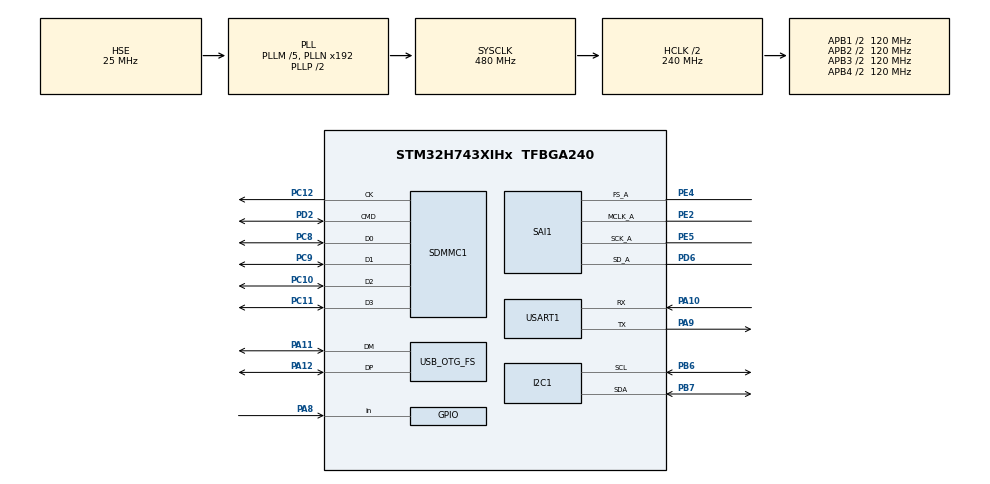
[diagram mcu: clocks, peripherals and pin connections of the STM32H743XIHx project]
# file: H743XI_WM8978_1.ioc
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Dma.Request0=SAI1_A
Dma.SAI1_A.0.Direction=DMA_MEMORY_TO_PERIPH
Dma.SAI1_A.0.EventEnable=DISABLE
Dma.SAI1_A.0.FIFOMode=DMA_FIFOMODE_DISABLE
Dma.SAI1_A.0.Instance=DMA1_Stream0
Dma.SAI1_A.0.MemDataAlignment=DMA_MDATAALIGN_HALFWORD
Dma.SAI1_A.0.MemInc=DMA_MINC_ENABLE
Dma.SAI1_A.0.Mode=DMA_NORMAL
Dma.SAI1_A.0.PeriphDataAlignment=DMA_PDATAALIGN_HALFWORD
Dma.SAI1_A.0.PeriphInc=DMA_PINC_DISABLE
Dma.SAI1_A.0.Polarity=HAL_DMAMUX_REQ_GEN_RISING
Dma.SAI1_A.0.Priority=DMA_PRIORITY_HIGH
Dma.SAI1_A.0.RequestNumber=1
Dma.SAI1_A.0.SignalID=NONE
Dma.SAI1_A.0.SyncEnable=DISABLE
Dma.SAI1_A.0.SyncPolarity=HAL_DMAMUX_SYNC_NO_EVENT
Dma.SAI1_A.0.SyncRequestNumber=1
Dma.SAI1_A.0.SyncSignalID=NONE
FATFS.BSP.number=1
FATFS._CODE_PAGE=936
FATFS._FS_RPATH=0
FATFS._LFN_UNICODE=0
FATFS._STRF_ENCODE=0
FATFS._USE_LFN=1
FATFS._USE_STRFUNC=1
FATFS0.BSP.STBoard=false
FATFS0.BSP.api=Unknown
FATFS0.BSP.instance=PA8
FATFS0.BSP.ip=GPIO
FATFS0.BSP.mode=Input
FATFS0.BSP.name=Detect_SDIO
FATFS0.BSP.solution=PA8
I2C1.Timing=0x307075B1
Mcu.Family=STM32H7
Mcu.Name=STM32H743XIHx
Mcu.Package=TFBGA240
NVIC.DMA1_Stream0_IRQn=true\:6\:0\:true\:false\:true\:false\:true\:true
NVIC.OTG_FS_EP1_IN_IRQn=true\:5\:0\:true\:false\:true\:true\:true\:true
NVIC.OTG_FS_EP1_OUT_IRQn=true\:5\:0\:true\:false\:true\:true\:true\:true
NVIC.OTG_FS_IRQn=true\:5\:0\:true\:false\:true\:false\:true\:true
NVIC.PriorityGroup=NVIC_PRIORITYGROUP_4
NVIC.SAI1_IRQn=true\:5\:0\:true\:false\:true\:true\:true\:true
PA10.Mode=Asynchronous
PA10.Signal=USART1_RX
PA11.GPIO_Speed=GPIO_SPEED_FREQ_VERY_HIGH
PA11.Mode=Device_Only
PA11.Signal=USB_OTG_FS_DM
PA12.GPIO_Speed=GPIO_SPEED_FREQ_VERY_HIGH
PA12.Mode=Device_Only
PA12.Signal=USB_OTG_FS_DP
PA13\ (JTMS/SWDIO).Mode=Serial_Wire
PA13\ (JTMS/SWDIO).Signal=DEBUG_JTMS-SWDIO
PA14\ (JTCK/SWCLK).Mode=Serial_Wire
PA14\ (JTCK/SWCLK).Signal=DEBUG_JTCK-SWCLK
PA8.GPIO_PuPd=GPIO_PULLDOWN
PA8.Signal=GPIO_Input
PA9.Mode=Asynchronous
PA9.Signal=USART1_TX
PB6.GPIO_Pu=GPIO_PULLUP
PB6.GPIO_Speed=GPIO_SPEED_FREQ_HIGH
PB6.Mode=I2C
PB6.Signal=I2C1_SCL
PB7.GPIO_Pu=GPIO_PULLUP
PB7.GPIO_Speed=GPIO_SPEED_FREQ_HIGH
PB7.Mode=I2C
PB7.Signal=I2C1_SDA
PC10.Mode=SD_4_bits_Wide_bus
PC10.Signal=SDMMC1_D2
PC11.Mode=SD_4_bits_Wide_bus
PC11.Signal=SDMMC1_D3
PC12.Mode=SD_4_bits_Wide_bus
PC12.Signal=SDMMC1_CK
PC8.Mode=SD_4_bits_Wide_bus
PC8.Signal=SDMMC1_D0
PC9.Mode=SD_4_bits_Wide_bus
PC9.Signal=SDMMC1_D1
PD2.Mode=SD_4_bits_Wide_bus
PD2.Signal=SDMMC1_CMD
PD6.GPIO_Speed=GPIO_SPEED_FREQ_VERY_HIGH
PD6.Mode=SAI_A_MasterWithClock
PD6.Signal=SAI1_SD_A
PE2.GPIO_Speed=GPIO_SPEED_FREQ_VERY_HIGH
PE2.Mode=SAI_A_MasterWithClock
PE2.Signal=SAI1_MCLK_A
PE4.GPIO_Speed=GPIO_SPEED_FREQ_VERY_HIGH
PE4.Mode=SAI_A_MasterWithClock
PE4.Signal=SAI1_FS_A
PE5.GPIO_Speed=GPIO_SPEED_FREQ_VERY_HIGH
PE5.Mode=SAI_A_MasterWithClock
PE5.Signal=SAI1_SCK_A
PH0-OSC_IN\ (PH0).Mode=HSE-External-Oscillator
PH0-OSC_IN\ (PH0).Signal=RCC_OSC_IN
PH1-OSC_OUT\ (PH1).Mode=HSE-External-Oscillator
PH1-OSC_OUT\ (PH1).Signal=RCC_OSC_OUT
ProjectManager.HeapSize=0x8000
ProjectManager.StackSize=0x8000
ProjectManager.TargetToolchain=STM32CubeIDE
RCC.ADCFreq_Value=12280000
RCC.APB1Freq_Value=120000000
RCC.APB2Freq_Value=120000000
RCC.APB3Freq_Value=120000000
RCC.APB4Freq_Value=120000000
RCC.CKPERSourceSelection=RCC_CLKPSOURCE_HSE
RCC.CortexFreq_Value=480000000
RCC.D1PPRE=RCC_APB3_DIV2
RCC.D2PPRE1=RCC_APB1_DIV2
RCC.D2PPRE2=RCC_APB2_DIV2
RCC.D3PPRE=RCC_APB4_DIV2
RCC.DIVM1=5
RCC.DIVM2=25
RCC.DIVN1=192
RCC.DIVN2=307
RCC.DIVP2=25
RCC.DIVQ1=13
RCC.HCLKFreq_Value=240000000
RCC.HPRE=RCC_HCLK_DIV2
RCC.PLL2FRACN=0
RCC.PLL3FRACN=0
RCC.PLLFRACN=0
RCC.PLLSourceVirtual=RCC_PLLSOURCE_HSE
RCC.SAI1CLockSelection=RCC_SAI1CLKSOURCE_PLL2
RCC.SYSCLKFreq_VALUE=480000000
RCC.SYSCLKSource=RCC_SYSCLKSOURCE_PLLCLK
RCC.USBCLockSelection=RCC_USBCLKSOURCE_HSI48
RCC.USBFreq_Value=48000000
SAI1.AudioFrequency-SAI_A_MasterWithClock=SAI_AUDIO_FREQUENCY_48K
SAI1.BasicDataSize-SAI_A_MasterWithClock=SAI_PROTOCOL_DATASIZE_16BIT
SAI1.BasicProtocol-SAI_A_MasterWithClock=SAI_I2S_STANDARD
SAI1.BasicSlotNumber-SAI_A_MasterWithClock=2
SAI1.ErrorAudioFreq-SAI_A_MasterWithClock=-0.06 %
SAI1.FIFOThreshold-SAI_A_MasterWithClock=SAI_FIFOTHRESHOLD_1QF
SAI1.InitProtocol-SAI_A_MasterWithClock=Enable
SAI1.Instance-SAI_A_MasterWithClock=SAI$Index_Block_A
SAI1.MClockEnable-SAI_A_MasterWithClock=SAI_MASTERCLOCK_ENABLE
SAI1.MonoStereoMode-SAI_A_MasterWithClock=SAI_STEREOMODE
SAI1.NoDivider-SAI_A_MasterWithClock=SAI_MCK_OVERSAMPLING_DISABLE
SAI1.OutputDrive-SAI_A_MasterWithClock=SAI_OUTPUTDRIVE_ENABLE
SAI1.RealAudioFreq-SAI_A_MasterWithClock=47.968 KHz
SAI1.VirtualMode-SAI_A_MasterWithClock=VM_MASTER
SAI1.VirtualProtocol-SAI_A_BASIC=VM_BASIC_PROTOCOL
SDMMC1.ClockDiv=3
USART1.VirtualMode-Asynchronous=VM_ASYNC
USB_DEVICE.CLASS_NAME_FS=AUDIO
USB_DEVICE.PID_AUDIO_FS=0x5730
USB_DEVICE.USBD_AUDIO_FREQ-AUDIO_FS=48000
USB_DEVICE.USBD_DEBUG_LEVEL-AUDIO_FS=3
USB_DEVICE.VID-AUDIO_FS=0x483
USB_DEVICE.VirtualMode-AUDIO_FS=Audio
USB_DEVICE.VirtualModeFS=Audio_FS
USB_OTG_FS.VirtualMode=Device_Only
VP_FATFS_VS_SDIO.Mode=SDIO
VP_MEMORYMAP_VS_MEMORYMAP.Mode=CurAppReg
VP_SAI1_VP_$IpInstance_SAIA_SAI_BASIC.Mode=SAI_A_BASIC
VP_USB_DEVICE_VS_USB_DEVICE_AUDIO_FS.Mode=AUDIO_FS
board=custom

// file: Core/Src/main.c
/* USER CODE BEGIN Header */
/**
  ******************************************************************************
  * @file           : main.c
  * @brief          : Main program body
  ******************************************************************************
  * @attention
  *
  * Copyright (c) 2025 STMicroelectronics.
  * All rights reserved.
  *
  * This software is licensed under terms that can be found in the LICENSE file
  * in the root directory of this software component.
  * If no LICENSE file comes with this software, it is provided AS-IS.
  *
  ******************************************************************************
  */
/* USER CODE END Header */
#include "main.h"
#include "dma.h"
#include "fatfs.h"
#include "i2c.h"
#include "memorymap.h"
#include "sai.h"
#include "sdmmc.h"
#include "usart.h"
#include "usb_device.h"
#include "gpio.h"

/* USER CODE BEGIN Includes */
#include "debug.h"
#include "stdio.h"
#include "Audio/wm8978.h"
#include "usbd_audio_if.h"
/* USER CODE END Includes */

/* USER CODE BEGIN PV */
uint16_t Date[4096];
FRESULT res;
FATFS fs;
DIR dir;
FILINFO fno;
FIL file;
UINT br;
#define PLAY_HEADER          0x2C
#define PLAY_BUFF_SIZE       4096

uint16_t	PlayBuff_0[PLAY_BUFF_SIZE];
uint16_t	PlayBuff_1[PLAY_BUFF_SIZE];
//uint16_t* PlayBuff_0 = (uint16_t*)0x24000000;
//uint16_t* PlayBuff_1 = (uint16_t*)0x24000000+4096;

uint8_t		BuffHead[PLAY_HEADER];
uint8_t SAI_Sate = 0;
int SAI_Time = 0;
/* USER CODE END PV */

void SystemClock_Config(void);

int main(void)
{

  /* MCU Configuration--------------------------------------------------------*/

  /* Reset of all peripherals, Initializes the Flash interface and the Systick. */
  HAL_Init();

  /* Configure the system clock */
  SystemClock_Config();

  /* Initialize all configured peripherals */
  MX_GPIO_Init();
  MX_DMA_Init();
  MX_SAI1_Init();
  MX_I2C1_Init();
  MX_USART1_UART_Init();
  MX_SDMMC1_SD_Init();
  MX_FATFS_Init();
  MX_USB_DEVICE_Init();
  /* USER CODE BEGIN 2 */
  DebugInit(&huart1);
  printf("\n*********************************WM8978 test*****************************************\n");

  /* 检测WM8978芯片，此函数会自动配置CPU的GPIO */
  if (WM8978_Init() != HAL_OK)
  {
    printf("检测不到WM8978芯片!!!\n");
    while (1);	/* 停机 */
  }
  printf("初始化WM8978成功\n");

  /* 延迟一段时间，等待I2S中断结束 */
  HAL_Delay(10);

  /* 复位WM8978到复位状态 */
  WM8978_Reset();

  /* 配置WM8978芯片，输入为DAC，输出为耳机 */
  WM8978_CfgAudioPath(DAC_ON, EAR_LEFT_ON | EAR_RIGHT_ON);
//  WM8978_CfgAudioPath(DAC_ON, SPK_ON);
//  WM8978_CfgAudioPath(DAC_ON, EAR_LEFT_ON );

  /* 调节音量，左右相同音量 */
  WM8978_SetOUT1Volume(20);
//  WM8978_SetOUT2Volume(60);

  /* 配置WM8978音频接口为飞利浦标准I2S接口，16bit */
  WM8978_CfgAudioIF(SAI_I2S_STANDARD, 16);

//  res = f_mount(&fs, "0:", 1);
//  if(res) {printf("%s(%d),错误码:%d\n",__FILE__, __LINE__,res);while(1);}
//
//  res = f_opendir(&dir, "0:");
//  if(res) {printf("%s(%d),错误码:%d\n",__FILE__, __LINE__,res);while(1);}
//
//  res = f_readdir(&dir, &fno);
//  while(res == FR_OK && fno.fname[0])
//  {
//	  printf("%s\n",fno.fname);
//	  res = f_readdir(&dir, &fno);
//  }
//
//  res = f_open(&file, "music.wav", FA_READ);
//  if(res) {printf("%s(%d),错误码:%d\n",__FILE__, __LINE__,res);while(1);}
//
//  res = f_read(&file, BuffHead, PLAY_HEADER, &br);
//  if(res) {printf("%s(%d),错误码:%d\n",__FILE__, __LINE__,res);while(1);}
////  printf("读取了:0x%X个字节\n",br);
//  for (int i = 0; i < br; ++i)
//  {
//	  printf("0x%02X ",BuffHead[i]);
//  }
//
//  uint32_t Date_Size = (uint32_t)BuffHead[0x2B]<<24 | (uint32_t)BuffHead[0x2A]<<16 | (uint32_t)BuffHead[0x29]<<8 | BuffHead[0x28];
//  printf("\n数据量:0x%lX\n",Date_Size);
//  printf("时长 %d:%02d\n",(uint8_t)(Date_Size/(2*44100*16/8) / 60),(uint8_t)(Date_Size/(2*44100*16/8) % 60));
//
//  res = f_read(&file, (uint8_t *)PlayBuff_0, PLAY_BUFF_SIZE * 2, &br);
//  if(res) {printf("%s(%d),错误码:%d\n",__FILE__, __LINE__,res);while(1);}
//  HAL_SAI_Transmit_DMA(&hsai_BlockA1, (uint8_t*)PlayBuff_0, PLAY_BUFF_SIZE * 2);
//
//  while (1)
//  {
//	  while (SAI_Sate == 1);
//	  res = f_read(&file, (uint8_t *)PlayBuff_1, PLAY_BUFF_SIZE * 2, &br);
//	  if(res) {printf("%s(%d),错误码:%d\n",__FILE__, __LINE__,res);while(1);}
//	  if(br < PLAY_BUFF_SIZE * 2) {printf("结束\n");f_lseek(&file, 0);}
//
//	  while (SAI_Sate == 0);
//	  res = f_read(&file, (uint8_t *)PlayBuff_0, PLAY_BUFF_SIZE * 2, &br);
//	  if(res) {printf("%s(%d),错误码:%d\n",__FILE__, __LINE__,res);while(1);}
//	  if(br < PLAY_BUFF_SIZE * 2) {printf("结束\n");f_lseek(&file, 0);}
//
//  }
//
//  res = f_closedir(&dir);
//  if(res) {printf("%s(%d),错误码:%d\n",__FILE__, __LINE__,res);while(1);}

  /* USER CODE END 2 */

  /* Infinite loop */
  /* USER CODE BEGIN WHILE */
  while (1)
  {
//	  HAL_SAI_Transmit(&hsai_BlockA1, (uint8_t*)Date, 4096, 500);
    /* USER CODE END WHILE */

  }
}

void SystemClock_Config(void)
{
  RCC_OscInitTypeDef RCC_OscInitStruct = {0};
  RCC_ClkInitTypeDef RCC_ClkInitStruct = {0};

  /** Supply configuration update enable
  */
  HAL_PWREx_ConfigSupply(PWR_LDO_SUPPLY);

  /** Configure the main internal regulator output voltage
  */
  __HAL_PWR_VOLTAGESCALING_CONFIG(PWR_REGULATOR_VOLTAGE_SCALE0);

  while(!__HAL_PWR_GET_FLAG(PWR_FLAG_VOSRDY)) {}

  /** Initializes the RCC Oscillators according to the specified parameters
  * in the RCC_OscInitTypeDef structure.
  */
  RCC_OscInitStruct.OscillatorType = RCC_OSCILLATORTYPE_HSI48|RCC_OSCILLATORTYPE_HSE;
  RCC_OscInitStruct.HSEState = RCC_HSE_ON;
  RCC_OscInitStruct.HSI48State = RCC_HSI48_ON;
  RCC_OscInitStruct.PLL.PLLState = RCC_PLL_ON;
  RCC_OscInitStruct.PLL.PLLSource = RCC_PLLSOURCE_HSE;
  RCC_OscInitStruct.PLL.PLLM = 5;
  RCC_OscInitStruct.PLL.PLLN = 192;
  RCC_OscInitStruct.PLL.PLLP = 2;
  RCC_OscInitStruct.PLL.PLLQ = 13;
  RCC_OscInitStruct.PLL.PLLR = 2;
  RCC_OscInitStruct.PLL.PLLRGE = RCC_PLL1VCIRANGE_2;
  RCC_OscInitStruct.PLL.PLLVCOSEL = RCC_PLL1VCOWIDE;
  RCC_OscInitStruct.PLL.PLLFRACN = 0;
  if (HAL_RCC_OscConfig(&RCC_OscInitStruct) != HAL_OK)
  {
    Error_Handler();
  }

  /** Initializes the CPU, AHB and APB buses clocks
  */
  RCC_ClkInitStruct.ClockType = RCC_CLOCKTYPE_HCLK|RCC_CLOCKTYPE_SYSCLK
                              |RCC_CLOCKTYPE_PCLK1|RCC_CLOCKTYPE_PCLK2
                              |RCC_CLOCKTYPE_D3PCLK1|RCC_CLOCKTYPE_D1PCLK1;
  RCC_ClkInitStruct.SYSCLKSource = RCC_SYSCLKSOURCE_PLLCLK;
  RCC_ClkInitStruct.SYSCLKDivider = RCC_SYSCLK_DIV1;
  RCC_ClkInitStruct.AHBCLKDivider = RCC_HCLK_DIV2;
  RCC_ClkInitStruct.APB3CLKDivider = RCC_APB3_DIV2;
  RCC_ClkInitStruct.APB1CLKDivider = RCC_APB1_DIV2;
  RCC_ClkInitStruct.APB2CLKDivider = RCC_APB2_DIV2;
  RCC_ClkInitStruct.APB4CLKDivider = RCC_APB4_DIV2;

  if (HAL_RCC_ClockConfig(&RCC_ClkInitStruct, FLASH_LATENCY_4) != HAL_OK)
  {
    Error_Handler();
  }
}

/* USER CODE BEGIN 4 */
//void HAL_SAI_TxCpltCallback(SAI_HandleTypeDef *hsai)
//{
////	printf("%d\n",SAI_Time++);
//	if(SAI_Sate == 0)
//	{
//		HAL_SAI_Transmit_DMA(&hsai_BlockA1, (uint8_t*)PlayBuff_1, PLAY_BUFF_SIZE);
//		SAI_Sate = 1;
//	}
//	else if(SAI_Sate == 1)
//	{
//		HAL_SAI_Transmit_DMA(&hsai_BlockA1, (uint8_t*)PlayBuff_0, PLAY_BUFF_SIZE);
//		SAI_Sate = 0;
//	}
//}

void HAL_SAI_TxCpltCallback(SAI_HandleTypeDef *hsai)
{
//	if(hsai->Instance == SAI1_Block_A)
//	{
		TransferComplete_CallBack_FS();
//	}
}

void HAL_SAI_TxHalfCpltCallback(SAI_HandleTypeDef *hsai)
{
//	if(hsai->Instance == SAI1_Block_A)
//	{
		HalfTransfer_CallBack_FS();
//	}
}
/* USER CODE END 4 */

void Error_Handler(void)
{
  __disable_irq();
  while (1)
  {
  }
}
